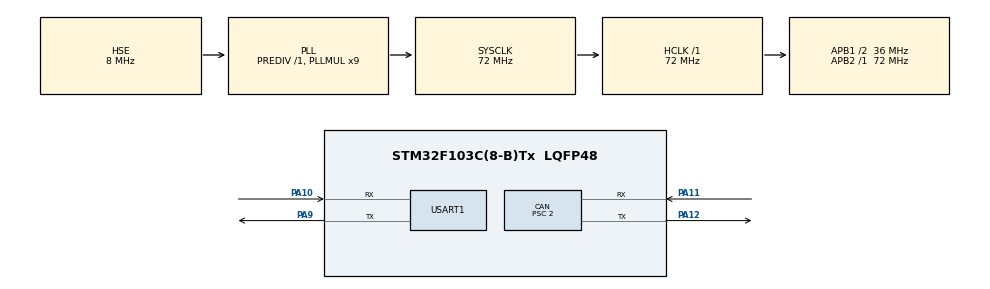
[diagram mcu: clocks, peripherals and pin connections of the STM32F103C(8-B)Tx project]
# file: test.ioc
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CAN.ABOM=ENABLE
CAN.AWUM=ENABLE
CAN.BS1=CAN_BS1_15TQ
CAN.BS2=CAN_BS2_2TQ
CAN.CalculateBaudRate=1000000
CAN.CalculateTimeBit=1000
CAN.CalculateTimeQuantum=55.55555555555556
CAN.NART=ENABLE
CAN.Prescaler=2
Dma.Request0=USART1_RX
Dma.USART1_RX.0.Direction=DMA_PERIPH_TO_MEMORY
Dma.USART1_RX.0.Instance=DMA1_Channel5
Dma.USART1_RX.0.MemDataAlignment=DMA_MDATAALIGN_BYTE
Dma.USART1_RX.0.MemInc=DMA_MINC_ENABLE
Dma.USART1_RX.0.Mode=DMA_CIRCULAR
Dma.USART1_RX.0.PeriphDataAlignment=DMA_PDATAALIGN_BYTE
Dma.USART1_RX.0.PeriphInc=DMA_PINC_DISABLE
Dma.USART1_RX.0.Priority=DMA_PRIORITY_LOW
Mcu.Family=STM32F1
Mcu.Name=STM32F103C(8-B)Tx
Mcu.Package=LQFP48
NVIC.DMA1_Channel5_IRQn=true\:0\:0\:false\:false\:true\:false\:true\:true
NVIC.PriorityGroup=NVIC_PRIORITYGROUP_4
NVIC.USB_LP_CAN1_RX0_IRQn=true\:0\:0\:false\:false\:true\:true\:true\:true
PA10.Mode=Asynchronous
PA10.Signal=USART1_RX
PA11.Mode=CAN_Activate
PA11.Signal=CAN_RX
PA12.Mode=CAN_Activate
PA12.Signal=CAN_TX
PA9.Mode=Asynchronous
PA9.Signal=USART1_TX
PD0-OSC_IN.Mode=HSE-External-Oscillator
PD0-OSC_IN.Signal=RCC_OSC_IN
PD1-OSC_OUT.Mode=HSE-External-Oscillator
PD1-OSC_OUT.Signal=RCC_OSC_OUT
ProjectManager.HeapSize=0x200
ProjectManager.StackSize=0x400
ProjectManager.TargetToolchain=STM32CubeIDE
RCC.AHBFreq_Value=72000000
RCC.APB1CLKDivider=RCC_HCLK_DIV2
RCC.APB1Freq_Value=36000000
RCC.APB1TimFreq_Value=72000000
RCC.APB2Freq_Value=72000000
RCC.APB2TimFreq_Value=72000000
RCC.HCLKFreq_Value=72000000
RCC.PLLMUL=RCC_PLL_MUL9
RCC.PLLSourceVirtual=RCC_PLLSOURCE_HSE
RCC.SYSCLKFreq_VALUE=72000000
RCC.SYSCLKSource=RCC_SYSCLKSOURCE_PLLCLK
RCC.USBFreq_Value=72000000
USART1.VirtualMode=VM_ASYNC
VP_SYS_VS_ND.Mode=No_Debug
board=custom

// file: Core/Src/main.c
/* USER CODE BEGIN Header */
/**
  ******************************************************************************
  * @file           : main.c
  * @brief          : Main program body
  ******************************************************************************
  * @attention
  *
  * Copyright (c) 2025 STMicroelectronics.
  * All rights reserved.
  *
  * This software is licensed under terms that can be found in the LICENSE file
  * in the root directory of this software component.
  * If no LICENSE file comes with this software, it is provided AS-IS.
  *
  ******************************************************************************
  */
/* USER CODE END Header */
#include "main.h"

CAN_HandleTypeDef hcan;

UART_HandleTypeDef huart1;
DMA_HandleTypeDef hdma_usart1_rx;

/* USER CODE BEGIN PV */
#define RX_BUF_SIZE 18                 // two 9B frames: [0..8] and [9..17]
uint8_t rx_buf[RX_BUF_SIZE];

static CAN_TxHeaderTypeDef tx;
static uint32_t canMailbox;

/* USER CODE END PV */

void SystemClock_Config(void);
static void MX_GPIO_Init(void);
static void MX_DMA_Init(void);
static void MX_USART1_UART_Init(void);
static void MX_CAN_Init(void);

int main(void)
{

  /* MCU Configuration--------------------------------------------------------*/

  /* Reset of all peripherals, Initializes the Flash interface and the Systick. */
  HAL_Init();

  /* Configure the system clock */
  SystemClock_Config();

  /* Initialize all configured peripherals */
  MX_GPIO_Init();
  MX_DMA_Init();
  MX_USART1_UART_Init();
  MX_CAN_Init();
  /* USER CODE BEGIN 2 */

  HAL_UART_Receive_DMA(&huart1, rx_buf, RX_BUF_SIZE);

  // Accept-all CAN filter to FIFO0 (needed even in loopback)

  // Start CAN and enable RX FIFO0 notification (for loopback receive)
  HAL_CAN_Start(&hcan);

                  tx.StdId = 0x100;        // your CAN ID
  	              tx.ExtId = 0;
  	              tx.IDE   = CAN_ID_STD;
  	              tx.RTR   = CAN_RTR_DATA;
  	              tx.DLC   = 8;
  	              tx.TransmitGlobalTime = DISABLE;

  /* USER CODE END 2 */

  /* Infinite loop */
  while (1)
  {

    /* USER CODE BEGIN 3 */
    // nothing; all work happens in IRQ/DMAs
  }
  /* USER CODE END 3 */
}

void SystemClock_Config(void)
{
  RCC_OscInitTypeDef RCC_OscInitStruct = {0};
  RCC_ClkInitTypeDef RCC_ClkInitStruct = {0};

  /** Initializes the RCC Oscillators according to the specified parameters
  * in the RCC_OscInitTypeDef structure.
  */
  RCC_OscInitStruct.OscillatorType = RCC_OSCILLATORTYPE_HSE;
  RCC_OscInitStruct.HSEState = RCC_HSE_ON;
  RCC_OscInitStruct.HSEPredivValue = RCC_HSE_PREDIV_DIV1;
  RCC_OscInitStruct.HSIState = RCC_HSI_ON;
  RCC_OscInitStruct.PLL.PLLState = RCC_PLL_ON;
  RCC_OscInitStruct.PLL.PLLSource = RCC_PLLSOURCE_HSE;
  RCC_OscInitStruct.PLL.PLLMUL = RCC_PLL_MUL9;
  if (HAL_RCC_OscConfig(&RCC_OscInitStruct) != HAL_OK)
  {
    Error_Handler();
  }

  /** Initializes the CPU, AHB and APB buses clocks
  */
  RCC_ClkInitStruct.ClockType = RCC_CLOCKTYPE_HCLK|RCC_CLOCKTYPE_SYSCLK
                              |RCC_CLOCKTYPE_PCLK1|RCC_CLOCKTYPE_PCLK2;
  RCC_ClkInitStruct.SYSCLKSource = RCC_SYSCLKSOURCE_PLLCLK;
  RCC_ClkInitStruct.AHBCLKDivider = RCC_SYSCLK_DIV1;
  RCC_ClkInitStruct.APB1CLKDivider = RCC_HCLK_DIV2;
  RCC_ClkInitStruct.APB2CLKDivider = RCC_HCLK_DIV1;

  if (HAL_RCC_ClockConfig(&RCC_ClkInitStruct, FLASH_LATENCY_2) != HAL_OK)
  {
    Error_Handler();
  }
}

static void MX_CAN_Init(void)
{

  hcan.Instance = CAN1;
  hcan.Init.Prescaler = 2;
  hcan.Init.Mode = CAN_MODE_NORMAL;
  hcan.Init.SyncJumpWidth = CAN_SJW_1TQ;
  hcan.Init.TimeSeg1 = CAN_BS1_15TQ;
  hcan.Init.TimeSeg2 = CAN_BS2_2TQ;
  hcan.Init.TimeTriggeredMode = DISABLE;
  hcan.Init.AutoBusOff = ENABLE;
  hcan.Init.AutoWakeUp = ENABLE;
  hcan.Init.AutoRetransmission = ENABLE;
  hcan.Init.ReceiveFifoLocked = DISABLE;
  hcan.Init.TransmitFifoPriority = DISABLE;
  if (HAL_CAN_Init(&hcan) != HAL_OK)
  {
    Error_Handler();
  }

}

static void MX_USART1_UART_Init(void)
{

  huart1.Instance = USART1;
  huart1.Init.BaudRate = 115200;
  huart1.Init.WordLength = UART_WORDLENGTH_8B;
  huart1.Init.StopBits = UART_STOPBITS_1;
  huart1.Init.Parity = UART_PARITY_NONE;
  huart1.Init.Mode = UART_MODE_TX_RX;
  huart1.Init.HwFlowCtl = UART_HWCONTROL_NONE;
  huart1.Init.OverSampling = UART_OVERSAMPLING_16;
  if (HAL_UART_Init(&huart1) != HAL_OK)
  {
    Error_Handler();
  }

}

static void MX_DMA_Init(void)
{

  /* DMA controller clock enable */
  __HAL_RCC_DMA1_CLK_ENABLE();

  /* DMA interrupt init */
  /* DMA1_Channel5_IRQn interrupt configuration */
  HAL_NVIC_SetPriority(DMA1_Channel5_IRQn, 0, 0);
  HAL_NVIC_EnableIRQ(DMA1_Channel5_IRQn);

}

static void MX_GPIO_Init(void)
{

  /* GPIO Ports Clock Enable */
  __HAL_RCC_GPIOD_CLK_ENABLE();
  __HAL_RCC_GPIOA_CLK_ENABLE();

}

/* USER CODE BEGIN 4 */

// UART DMA HALF: indices [0..8]  (9 bytes: 8 data + '\n')
void HAL_UART_RxHalfCpltCallback(UART_HandleTypeDef *huart)
{
  if (huart == &huart1)
  {
    if (rx_buf[8] == '\n')
    {
    	uint8_t d[8];
    	    for (int i = 0; i < 8; ++i) d[i] = rx_buf[i];
    	    (void)HAL_CAN_AddTxMessage(&hcan, &tx, d, &canMailbox);
    }
  }
}

// UART DMA FULL: indices [9..17] (9 bytes: 8 data + '\n')
void HAL_UART_RxCpltCallback(UART_HandleTypeDef *huart)
{
  if (huart == &huart1)
  {
    if (rx_buf[17] == '\n')
    {
    	uint8_t d[8];
    	    for (int i = 0; i < 8; ++i) d[i] = rx_buf[9 + i];
    	    (void)HAL_CAN_AddTxMessage(&hcan, &tx, d, &canMailbox);
    }
  }
}

/* USER CODE END 4 */

void Error_Handler(void)
{
  __disable_irq();
  while (1) { }
}
